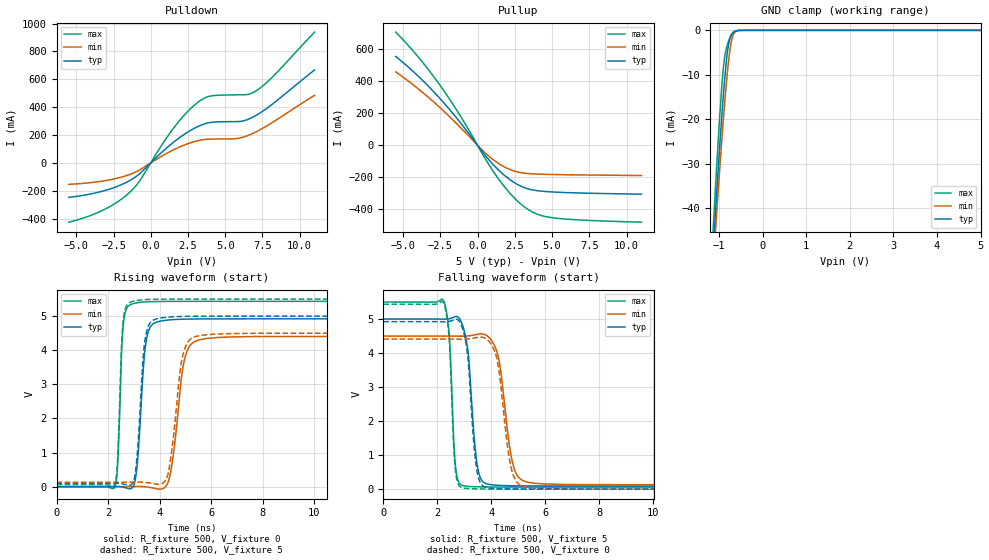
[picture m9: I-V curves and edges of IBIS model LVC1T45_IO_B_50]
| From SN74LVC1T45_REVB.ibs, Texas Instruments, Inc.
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[Model]   LVC1T45_IO_B_50
Model_type  I/O
Vinl=1.35
Vinh=3.85
Enable   Active-Low
Vref =   0
Rref =   2000
Cref =   15p
Vmeas =   2.5
| variable   typ   min   max
C_comp   6.40pF   5.43pF   7.92pF
| C_pullup   10.12pF   8.52pF   12.70pF
| C_pulldown   8.71pF   6.85pF   10.92pF
| C_tri-state   6.40pF   5.43pF   7.92pF
[Temperature Range]   40   100   -40
| Ambient temperature   25   85   -40
[Voltage range]   5   4.5   5.5
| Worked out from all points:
|   slope of the pulldown table from 0 to 0.75 V, typ, clamps not added: 9.75 ohm
|   slope of the pullup table from 0 to 0.75 V, typ, clamps not added: 8.46 ohm
|   GND clamp passes 1 mA (typ) near -0.71 V on its own axis
|   rising waveform, R_fixture 500, V_fixture 0: 20-80 % time 252ps typ, 390ps min, 153ps max; typ from 0 V to 4.92 V
|   falling waveform, R_fixture 500, V_fixture 5: 20-80 % time 277ps typ, 406ps min, 178ps max; typ from 5 V to 0.092 V
|   rising waveform, R_fixture 500, V_fixture 5: 20-80 % time 243ps typ, 377ps min, 152ps max; typ from 0.092 V to 5 V
|   falling waveform, R_fixture 500, V_fixture 0: 20-80 % time 275ps typ, 397ps min, 172ps max; typ from 4.92 V to 0 V
[GND Clamp]
| LVC1T45_IO_B_50
|   Voltage   I(typ)   I(min)   I(max)
-5.5V     -910.9mA   -836.3mA   -1.031A
-1.135V   -49.53mA   -53.14mA   -44.94mA
-1.12V    -47.12mA   -50.9mA    -42.25mA
-1.1V     -43.92mA   -47.92mA   -38.71mA
-1.07V    -39.19mA   -43.51mA   -33.49mA
-955mV    -22.02mA   -27.29mA   -15.21mA
-880mV    -12.18mA   -17.61mA   -6.789mA
-825mV    -6.376mA   -11.28mA   -3.86mA
-770mV    -2.643mA   -6.035mA   -2.191mA
-710mV    -920.7uA   -2.212mA   -923.3uA
-640mV    -245.9uA   -461.9uA   -195.8uA
5V        15.38pA    101.8nA    12.33pA
[Pulldown]
| LVC1T45_IO_B_50
|   Voltage   I(typ)   I(min)   I(max)
-5.5V     -247.8mA   -154.1mA   -425.7mA
-3.17V    -201.1mA   -129.5mA   -337.6mA
-1.43V    -128.1mA   -83.89mA   -213mA
-715mV    -75.2mA    -48.65mA   -125.8mA
1.54V     149mA      93.97mA    250mA
3.14V     259.4mA    158.6mA    432.6mA
3.99V     289.7mA    170.6mA    479.4mA
5.81V     296.3mA    175mA      488.4mA
6.515V    311.6mA    196.1mA    491.3mA
7.04V     338.7mA    221.1mA    514.8mA
8.205V    424.9mA    292.7mA    619.5mA
11V       666.8mA    485.2mA    938.6mA
[Pullup]
| LVC1T45_IO_B_50
|   Voltage   I(typ)   I(min)   I(max)
-5.5V     556.3mA    459.8mA    708.3mA
-3.9V     425mA      347.2mA    543mA
-2.385V   278.3mA    224.1mA    357.5mA
-1.08V    132.9mA    105.2mA    172.2mA
260mV     -32.41mA   -24.88mA   -42.78mA
945mV     -109.3mA   -81.77mA   -146.9mA
2.04V     -204.9mA   -145.3mA   -285mA
3.085V    -261.6mA   -172.9mA   -380mA
3.975V    -282.4mA   -178.8mA   -428.7mA
5.03V     -290.8mA   -181.7mA   -451.9mA
7.055V    -297.7mA   -184.5mA   -466.8mA
11V       -304.7mA   -188mA     -479.7mA
[Ramp]
| LVC1T45_IO_B_50
| variable   typ   min   max
dV/dt_r   2.99/2.63E-10   2.69/4.00E-10   3.30/1.61E-10
dV/dt_f   2.99/2.91E-10   2.66/4.21E-10   3.32/1.85E-10
R_load = 500
[Rising Waveform]
| LVC1T45_IO_B_50
R_fixture =   500
C_fixture =   0
L_fixture =   0
V_fixture =   0
V_fixture_min = 0
V_fixture_max = 0
|   Time   V(typ)   V(min)   V(max)
0s        225.7pV    389.5pV    145.6pV
2.27ns    2.056mV    38.72uV    -7.174mV
2.595ns   -17.16mV   -92.79uV   4.758V
2.98ns    12.87mV    1.984mV    5.366V
3.455ns   4.14V      -5.988mV   5.417V
3.915ns   4.832V     -67.18mV   5.428V
4.365ns   4.887V     203.4mV    5.431V
4.955ns   4.91V      3.679V     5.433V
5.52ns    4.917V     4.3V       5.433V
24.99ns   4.92V      4.406V     5.433V
[Falling Waveform]
| LVC1T45_IO_B_50
R_fixture =   500
C_fixture =   0
L_fixture =   0
V_fixture =   5
V_fixture_min = 4.5
V_fixture_max = 5.5
|   Time   V(typ)   V(min)   V(max)
0s        5V         4.5V       5.5V
2.24ns    4.996V     4.5V       5.527V
2.44ns    5.011V     4.5V       4.536V
2.67ns    5.073V     4.498V     691.1mV
2.94ns    4.805V     4.496V     105.1mV
3.475ns   720.4mV    4.55V      70.03mV
3.85ns    152.1mV    4.506V     64.85mV
4.815ns   99.98mV    691.1mV    61.17mV
5.315ns   95.69mV    208.9mV    60.67mV
24.99ns   91.93mV    128.8mV    60.15mV
[Rising Waveform]
| LVC1T45_IO_B_50
R_fixture =   500
C_fixture =   0
L_fixture =   0
V_fixture =   5
V_fixture_min = 4.5
V_fixture_max = 5.5
|   Time   V(typ)   V(min)   V(max)
0s        91.89mV    128.7mV    60.13mV
2.27ns    93.94mV    128.7mV    67.39mV
2.585ns   76.47mV    128.6mV    4.824V
2.955ns   101.7mV    130.4mV    5.432V
3.425ns   4.24V      124.6mV    5.483V
3.86ns    4.914V     77.89mV    5.494V
4.325ns   4.969V     351.4mV    5.498V
4.875ns   4.99V      3.756V     5.499V
5.435ns   4.997V     4.41V      5.5V
24.99ns   5V         4.5V       5.5V
[Falling Waveform]
| LVC1T45_IO_B_50
R_fixture =   500
C_fixture =   0
L_fixture =   0
V_fixture =   0
V_fixture_min = 0
V_fixture_max = 0
|   Time   V(typ)   V(min)   V(max)
0s        4.923V     4.41V      5.435V
2.24ns    4.919V     4.41V      5.459V
2.435ns   4.932V     4.41V      4.475V
2.66ns    4.991V     4.408V     624.1mV
2.91ns    4.776V     4.405V     44.55mV
3.45ns    629.5mV    4.453V     9.068mV
3.815ns   52.93mV    4.416V     4.396mV
4.755ns   6.967mV    563.1mV    994.9uV
5.23ns    3.351mV    67.88mV    527.3uV
24.99ns   36.9uV     71.58uV    18.7uV
